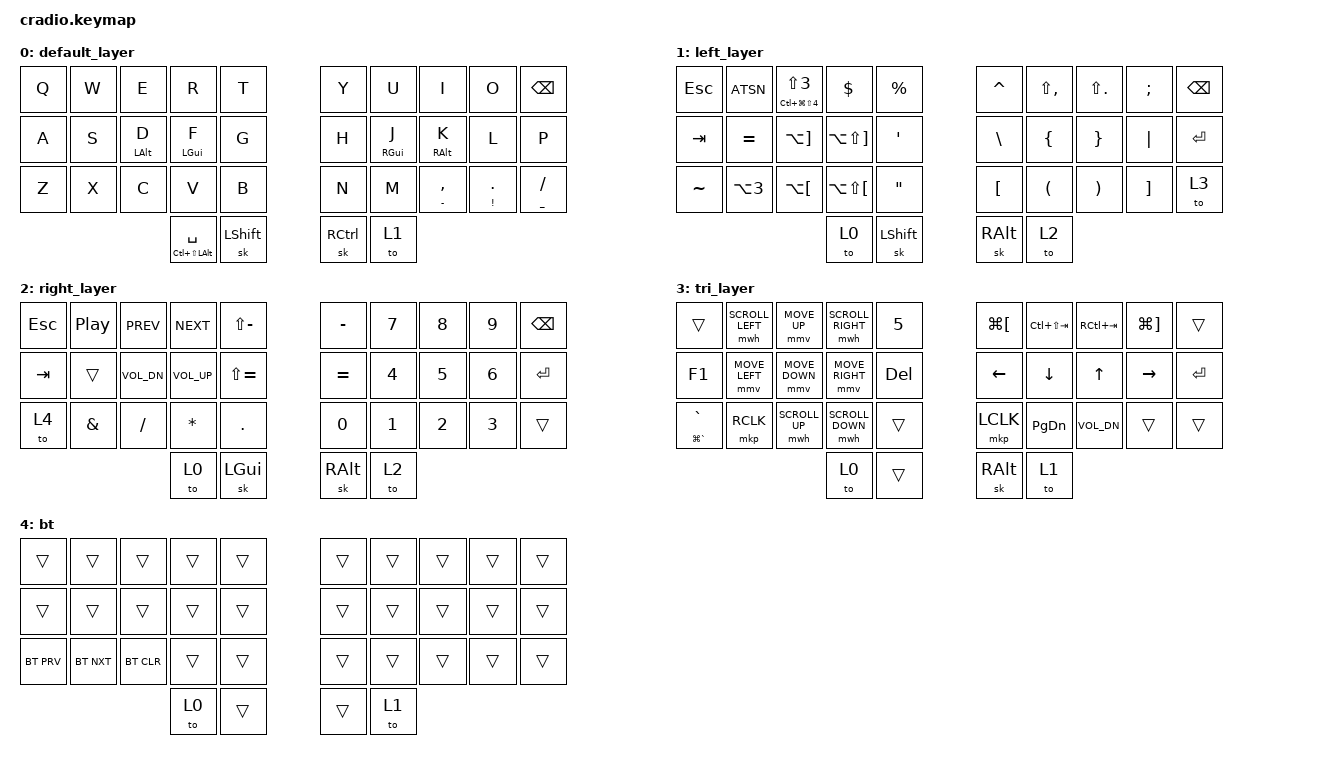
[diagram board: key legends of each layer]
/*
 * Copyright (c) 2020 The ZMK Contributors
 *
 * SPDX-License-Identifier: MIT
 */

#include <behaviors.dtsi>
#include <dt-bindings/zmk/keys.h>
#include <dt-bindings/zmk/bt.h>
#include <dt-bindings/zmk/mouse.h>


&mt {
    flavor = "tap-preferred";
    tapping_term_ms = <200>;
};

&mmv {
   time-to-max-speed-ms = <680>;
   acceleration-exponent=<2>;
};
/ { 


    behaviors {
        hm: homerow_mods {
            compatible = "zmk,behavior-hold-tap";
            label = "HOMEROW_MODS";
            #binding-cells = <2>;
            tapping-term-ms = <200>;
            quick_tap_ms = <0>;
            flavor = "tap-preferred";
            bindings = <&kp>, <&kp>;
        };
	td: tapdance {
            compatible = "zmk,behavior-hold-tap";
            label = "TAPDANCE";
            #binding-cells = <2>;
            tapping-term-ms = <150>;
            quick_tap_ms = <0>;
            flavor = "tap-preferred";
            bindings = <&kp>, <&kp>;
        };
    };
        keymap {
                compatible = "zmk,keymap";
                
       		default_layer {
		bindings = <
	//╭──────────┬──────────┬──────────┬──────────┬──────────╮   ╭──────────┬──────────┬──────────┬──────────┬──────────╮
        //│  Q       │  W       │  E       │  R       │  T       │   │  Y       │  U       │  I       │  O       │  BKSP    │
            &kp Q      &kp W      &kp E      &kp R      &kp T          &kp Y      &kp U      &kp I      &kp O      &kp BKSP
        //├──────────┼──────────┼──────────┼──────────┼──────────┤   ├──────────┼──────────┼──────────┼──────────┼──────────┤
        //│  A       │  S       │  D ALT   │  F CMD   │  G       │   │  H       │  J CMD   │  K ALT   │  L       │ P        │
            &kp A      &kp S     &hm LALT D &hm LGUI F  &kp G          &kp H     &hm RGUI J &hm RALT K  &kp L      &kp P
        //├──────────┼──────────┼──────────┼──────────┼──────────┤   ├──────────┼──────────┼──────────┼──────────┼──────────┤
        //│  Z       │  X       │  C       │  V       │  B       │   │  N       │  M       │ , < -    │ . > !    │ / ? _    │
            &kp Z      &kp X      &kp C      &kp V      &kp B          &kp N      &kp M &td MINUS COMMA &td EXCL DOT &td UNDERSCORE SLASH
        //╰──────────┴──────────┴──────────┼──────────┼──────────┤   ├──────────┼──────────┼──────────┴──────────┴──────────╯
	//				   │  SPC MEH │	 SHIFT   │   │	CTRL    │  L2	   │
          				&mt LC(LS(LALT)) SPC &sk LSHIFT  &sk RCTRL &to 1
        //                                 ╰──────────┴──────────╯   ╰──────────┴──────────╯
		>;
		};

       		left_layer {
		bindings = <
		&kp ESC  &kp ATSN   &td LC(LG(LS(N4))) LS(N3) &kp DLLR    &kp PRCNT		&kp CARET &kp LS(COMMA) &kp LS(DOT) &kp SEMI &kp BKSP 
		&kp TAB    &kp EQUAL    &kp LA(RBKT)      &kp LA(LS(RBKT))     &kp SQT 		&kp BSLH &kp LBRC  &kp RBRC &kp PIPE  &kp ENTER
		&kp TILDE    &kp LA(N3) 	&kp LA(LBKT) &kp LA(LS(LBKT))  &kp DQT 	&kp LBKT &kp LPRN &kp RPRN &kp RBKT  &to 3 
					    &to 0  &sk LSHIFT  					&sk RALT &to 2 
		>;
		};
		
		right_layer {
		bindings = <
		&kp ESC  &kp C_PP &kp C_PREV  &kp C_NEXT  &kp LS(MINUS)    			&kp MINUS  &kp N7 &kp N8 &kp N9 &kp BKSP
		&kp TAB  &trans   &kp C_VOL_DN  &kp C_VOL_UP  &kp LS(EQUAL) 			&kp EQUAL &kp N4  &kp N5  &kp N6   &kp ENTER
		&to 4  &kp AMPS &kp SLASH &kp STAR &kp DOT    			&kp N0 &kp N1 &kp N2 &kp N3  &trans 
					  &to 0 &sk LGUI  				&sk RALT  &to 2 
		>;
		};
		
		tri_layer {
		bindings = <
		&trans  &mwh SCROLL_LEFT    &mmv MOVE_UP    &mwh SCROLL_RIGHT    &kp NUM_5 			&kp LG(LBKT)   &kp LC(LS(TAB))   &kp RC(TAB) &kp LG(RBKT) &trans
		&kp F1 &mmv MOVE_LEFT &mmv MOVE_DOWN &mmv MOVE_RIGHT &kp DEL  						&kp LEFT &kp DOWN  &kp UP &kp RIGHT &kp ENTER 
		&td LG(GRAVE) GRAVE &mkp RCLK  &mwh SCROLL_UP &mwh SCROLL_DOWN &trans   				&mkp LCLK &kp PG_DN  &kp K_VOL_DN  &trans &trans   
					 &to 0 &trans  					&sk RALT &to 1 
		>;
		};	
		bt {
		bindings = <
		&trans  &trans &trans &trans &trans &trans &trans &trans &trans &trans 
		&trans  &trans &trans &trans &trans &trans &trans &trans &trans &trans 
		&bt BT_PRV  &bt BT_NXT &bt BT_CLR &trans &trans   				&trans &trans  &trans  &trans &trans   
					 &to 0 &trans  					&trans &to 1 
		>;
		};	
        
	};
};
